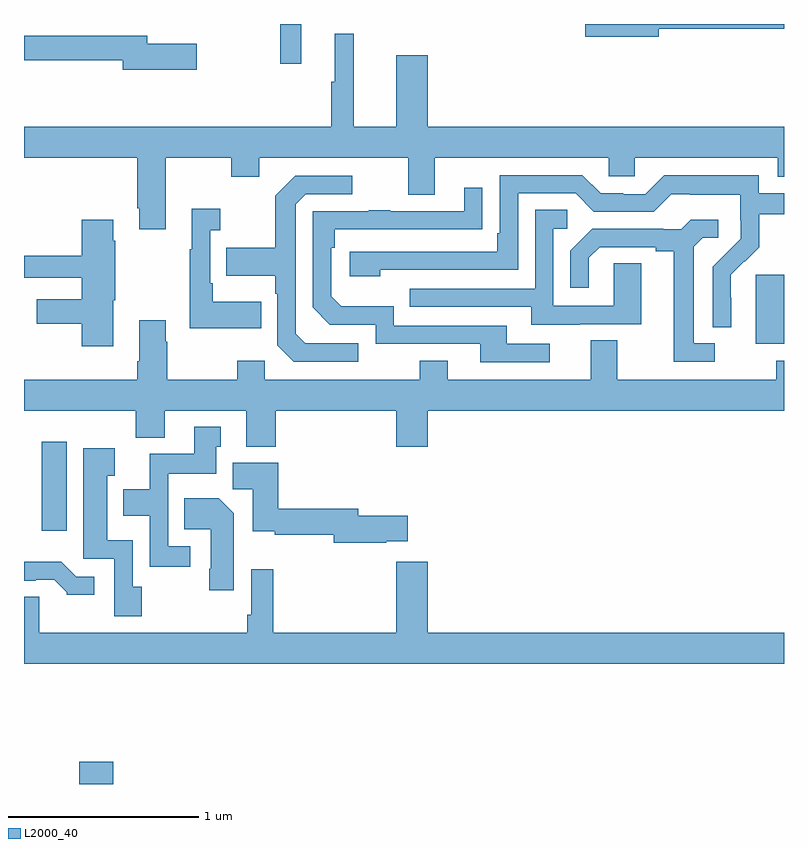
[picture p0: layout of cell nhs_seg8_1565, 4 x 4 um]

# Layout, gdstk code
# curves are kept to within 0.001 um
import gdstk
lib = gdstk.Library(unit=1e-6, precision=1e-09)
def R(c, l, rs):  # rectangles x0, y0, x1, y1
    for r in rs: c.add(gdstk.rectangle(r[:2], r[2:], *l))
def P(c, l, *ps):  # polygons
    for p in ps: c.add(gdstk.Polygon(p, *l))
L2000_40 = (2000, 40)

nhs_seg8_1565 = lib.new_cell('nhs_seg8_1565')
R(nhs_seg8_1565, L2000_40, [(211.291,1083.9,211.469,1084.018), (211.094,1085.232,211.225,1085.701), (214.85,1086.218,215,1086.579), (212.349,1087.692,212.459,1087.9)])
P(nhs_seg8_1565, L2000_40, [(214.342,1087.876),(215,1087.876),(215,1087.9),(213.954,1087.9),(213.954,1087.834),(214.342,1087.834)],
  [(211.747,1087.196),(212.092,1087.196),(212.092,1087.097),(212.239,1087.097),(212.239,1087.196),(213.023,1087.196),(213.023,1087.002),(213.163,1087.002),(213.163,1087.196),(214.077,1087.196),(214.077,1087.098),(214.215,1087.098),(214.215,1087.196),(214.967,1087.196),(214.967,1087.097),(215,1087.097),(215,1087.36),(213.124,1087.36),(213.124,1087.735),(212.96,1087.735),(212.96,1087.36),(212.736,1087.36),(212.736,1087.849),(212.636,1087.849),(212.636,1087.596),(212.617,1087.596),(212.617,1087.36),(211,1087.36),(211,1087.196),(211.595,1087.196),(211.595,1086.931),(211.607,1086.931),(211.607,1086.819),(211.747,1086.819)],
  [(211.909,1087.797),(211.648,1087.797),(211.648,1087.838),(211,1087.838),(211,1087.71),(211.52,1087.71),(211.52,1087.66),(211.909,1087.66)],
  [(214.722,1086.458),(214.721,1086.581),(214.791,1086.651),(214.794,1086.648),(214.871,1086.725),(214.871,1086.9),(215,1086.9),(215,1087.008),(214.866,1087.008),(214.866,1087.105),(214.369,1087.105),(214.269,1087.005),(214.154,1087.005),(214.154,1087.008),(214.035,1087.008),(213.939,1087.104),(213.504,1087.104),(213.504,1086.799),(213.491,1086.799),(213.491,1086.702),(212.715,1086.702),(212.715,1086.572),(212.876,1086.572),(212.876,1086.606),(213.6,1086.606),(213.6,1087.008),(213.903,1087.008),(213.999,1086.912),(214.314,1086.912),(214.407,1087.005),(214.507,1087.005),(214.507,1087.001),(214.77,1087.001),(214.77,1086.867),(214.772,1086.867),(214.772,1086.77),(214.626,1086.622),(214.626,1086.304),(214.722,1086.304)],
  [(212.758,1086.219),(212.481,1086.219),(212.43,1086.27),(212.43,1086.951),(212.484,1087.005),(212.728,1087.005),(212.728,1087.101),(212.427,1087.101),(212.322,1086.995),(212.322,1086.723),(212.065,1086.723),(212.065,1086.575),(212.322,1086.575),(212.322,1086.479),(212.334,1086.479),(212.334,1086.21),(212.421,1086.123),(212.758,1086.123)],
  [(213.766,1086.216),(213.541,1086.216),(213.541,1086.312),(212.946,1086.312),(212.946,1086.415),(212.669,1086.415),(212.616,1086.468),(212.616,1086.722),(212.636,1086.722),(212.636,1086.819),(213.413,1086.82),(213.413,1087.039),(213.317,1087.039),(213.317,1086.915),(212.927,1086.915),(212.927,1086.92),(212.815,1086.92),(212.815,1086.915),(212.52,1086.915),(212.52,1086.408),(212.61,1086.318),(212.85,1086.318),(212.85,1086.216),(213.401,1086.216),(213.401,1086.12),(213.766,1086.12)],
  [(212.249,1086.439),(211.993,1086.439),(211.993,1086.535),(211.98,1086.535),(211.98,1086.815),(212.032,1086.815),(212.032,1086.928),(211.883,1086.928),(211.883,1086.715),(211.872,1086.715),(211.872,1086.299),(212.249,1086.299)],
  [(213.925,1086.321),(214.249,1086.321),(214.249,1086.641),(214.104,1086.641),(214.104,1086.417),(213.786,1086.417),(213.786,1086.822),(213.859,1086.822),(213.859,1086.923),(213.69,1086.923),(213.69,1086.507),(213.031,1086.507),(213.031,1086.411),(213.671,1086.411),(213.671,1086.317),(213.925,1086.317)],
  [(214.636,1086.219),(214.525,1086.219),(214.525,1086.727),(214.572,1086.774),(214.654,1086.774),(214.654,1086.871),(214.51,1086.871),(214.458,1086.819),(214.364,1086.819),(214.364,1086.822),(213.992,1086.822),(213.876,1086.706),(213.876,1086.513),(213.973,1086.513),(213.973,1086.669),(214.03,1086.726),(214.325,1086.726),(214.325,1086.704),(214.421,1086.704),(214.421,1086.123),(214.636,1086.123)],
  [(211.471,1086.447),(211.479,1086.447),(211.479,1086.758),(211.471,1086.758),(211.471,1086.871),(211.304,1086.871),(211.304,1086.68),(211,1086.68),(211,1086.564),(211.304,1086.564),(211.304,1086.451),(211.068,1086.451),(211.068,1086.322),(211.304,1086.322),(211.304,1086.204),(211.471,1086.204)],
  [(212.324,1085.864),(212.96,1085.864),(212.96,1085.676),(213.124,1085.676),(213.124,1085.864),(215,1085.864),(215,1086.127),(214.96,1086.127),(214.96,1086.028),(214.123,1086.028),(214.123,1086.236),(213.983,1086.236),(213.983,1086.028),(213.229,1086.028),(213.229,1086.127),(213.082,1086.127),(213.082,1086.028),(212.268,1086.028),(212.268,1086.127),(212.122,1086.127),(212.122,1086.028),(211.755,1086.028),(211.755,1086.227),(211.747,1086.227),(211.747,1086.34),(211.607,1086.34),(211.607,1086.124),(211.595,1086.124),(211.595,1086.028),(211,1086.028),(211,1085.864),(211.589,1085.864),(211.589,1085.723),(211.741,1085.723),(211.741,1085.864),(212.171,1085.864),(212.171,1085.675),(212.324,1085.675)],
  [(211.876,1085.151),(211.758,1085.151),(211.758,1085.534),(212.011,1085.534),(212.011,1085.676),(212.035,1085.676),(212.035,1085.779),(211.895,1085.779),(211.895,1085.638),(211.661,1085.638),(211.661,1085.451),(211.523,1085.451),(211.523,1085.312),(211.662,1085.312),(211.662,1085.043),(211.876,1085.043)],
  [(211.62,1084.938),(211.572,1084.938),(211.572,1085.182),(211.438,1085.182),(211.438,1085.522),(211.477,1085.522),(211.477,1085.668),(211.313,1085.668),(211.313,1085.085),(211.476,1085.085),(211.476,1084.782),(211.62,1084.782)],
  [(212.906,1085.177),(213.019,1085.177),(213.019,1085.312),(212.758,1085.312),(212.758,1085.348),(212.339,1085.348),(212.339,1085.59),(212.099,1085.59),(212.099,1085.452),(212.204,1085.452),(212.204,1085.231),(212.32,1085.231),(212.32,1085.212),(212.63,1085.212),(212.63,1085.17),(212.906,1085.17)],
  [(212.104,1085.326),(212.026,1085.404),(211.843,1085.404),(211.843,1085.24),(211.982,1085.24),(211.982,1085.032),(211.975,1085.032),(211.975,1084.92),(212.104,1084.92)],
  [(211.369,1084.992),(211.275,1084.992),(211.197,1085.071),(211,1085.071),(211,1084.971),(211.061,1084.971),(211.061,1084.974),(211.16,1084.974),(211.224,1084.91),(211.224,1084.895),(211.369,1084.895)],
  [(215,1084.696),(213.124,1084.696),(213.124,1085.071),(212.96,1085.071),(212.96,1084.696),(212.312,1084.696),(212.312,1085.029),(212.196,1085.029),(212.196,1084.792),(212.176,1084.792),(212.176,1084.696),(211.081,1084.696),(211.081,1084.886),(211,1084.886),(211,1084.532),(215,1084.532)])

lib.write_gds('nhs_seg8_1565.gds')
